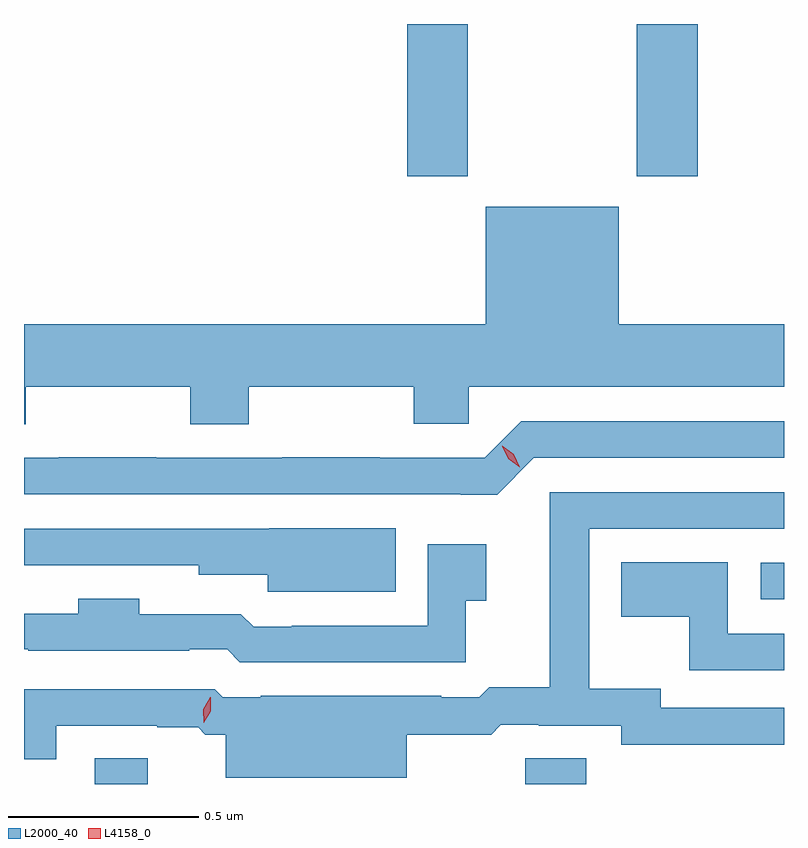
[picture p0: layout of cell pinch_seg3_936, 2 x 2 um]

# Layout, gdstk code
import gdstk
lib = gdstk.Library(unit=1e-6, precision=1e-09)
def R(c, l, rs):  # rectangles x0, y0, x1, y1
    for r in rs: c.add(gdstk.rectangle(r[:2], r[2:], *l))
def P(c, l, *ps):  # polygons
    for p in ps: c.add(gdstk.Polygon(p, *l))
L2000_40 = (2000, 40)
L4158_0 = (4158, 0)

pinch_seg3_936 = lib.new_cell('pinch_seg3_936')
R(pinch_seg3_936, L2000_40, [(773.057,669.234,773.197,669.302), (774.19,669.234,774.35,669.302), (774.81,669.72,774.871,669.816), (773.879,670.833,774.039,671.234), (774.484,670.833,774.644,671.234)])
P(pinch_seg3_936, L2000_40, [(772.875,670.28),(773.308,670.28),(773.308,670.181),(773.463,670.181),(773.463,670.28),(773.896,670.28),(773.896,670.182),(774.042,670.182),(774.042,670.28),(774.871,670.28),(774.871,670.444),(774.436,670.444),(774.436,670.753),(774.086,670.753),(774.086,670.444),(772.871,670.444),(772.871,670.181),(772.875,670.181)],
  [(774.213,670.092),(774.871,670.092),(774.871,670.188),(774.18,670.188),(774.084,670.092),(773.807,670.092),(773.807,670.094),(773.551,670.094),(773.551,670.092),(773.219,670.092),(773.219,670.094),(772.963,670.094),(772.963,670.092),(772.871,670.092),(772.871,669.996),(774.02,669.996),(774.02,669.995),(774.116,669.995)],
  [(773.878,669.364),(774.1,669.364),(774.126,669.39),(774.226,669.39),(774.226,669.387),(774.443,669.387),(774.443,669.337),(774.871,669.337),(774.871,669.435),(774.547,669.435),(774.547,669.485),(774.358,669.485),(774.358,669.906),(774.871,669.906),(774.871,670.002),(774.254,670.002),(774.254,669.488),(774.095,669.488),(774.069,669.462),(773.969,669.462),(773.969,669.466),(773.494,669.466),(773.494,669.462),(773.394,669.462),(773.373,669.483),(772.871,669.483),(772.871,669.299),(772.956,669.299),(772.956,669.387),(773.222,669.387),(773.222,669.383),(773.33,669.383),(773.348,669.364),(773.402,669.364),(773.402,669.251),(773.878,669.251)],
  [(773.849,669.907),(773.517,669.907),(773.517,669.906),(772.871,669.906),(772.871,669.81),(773.331,669.81),(773.331,669.785),(773.513,669.785),(773.513,669.74),(773.849,669.74)],
  [(774.033,669.716),(774.088,669.716),(774.088,669.865),(773.934,669.865),(773.934,669.651),(773.575,669.651),(773.575,669.648),(773.475,669.648),(773.442,669.681),(773.174,669.681),(773.174,669.721),(773.014,669.721),(773.014,669.682),(772.871,669.682),(772.871,669.588),(772.882,669.588),(772.882,669.585),(773.306,669.585),(773.306,669.588),(773.406,669.588),(773.439,669.555),(774.033,669.555)],
  [(774.871,669.63),(774.723,669.63),(774.723,669.817),(774.443,669.817),(774.443,669.674),(774.622,669.674),(774.622,669.534),(774.871,669.534)])
P(pinch_seg3_936, L4158_0, [(773.344,669.395),(773.344,669.395),(773.343,669.431),(773.361,669.462),(773.362,669.462),(773.362,669.462),(773.362,669.426),(773.344,669.395)],
  [(774.176,670.068),(774.145,670.09),(774.13,670.123),(774.13,670.124),(774.13,670.124),(774.16,670.102),(774.176,670.068),(774.176,670.068)])

lib.write_gds('pinch_seg3_936.gds')
